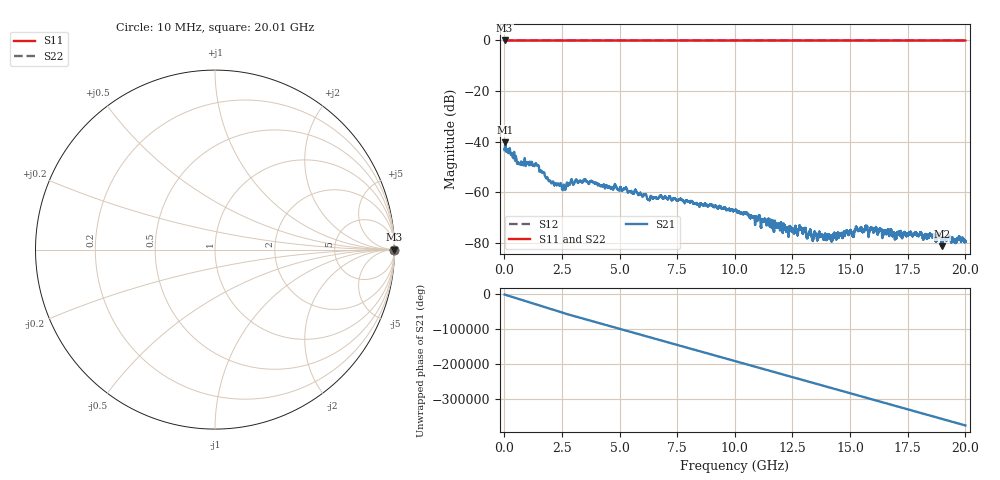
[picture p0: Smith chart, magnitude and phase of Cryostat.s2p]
! 8/15/2025 12:09:11 PM
! C:\ANRITSUVNA\CRYOSTAT.S2P
! CHANNEL.1
! TR.MEASUREMENT
! RAW.DATA
! RF.CORRECTION.OFF
! AVERAGING.OFF
! IF.BANDWIDTH: 5KHZ
! SWEEPTYPE:  FREQ.SWEEP(Linear)
! Reference Plane Port Info
! PORT:  PORT1  PORT2
! DISTANCE:  0  m  0  m
! TIME:  0  s  0  s
! PHASE.OFFSET:  0  deg.  0  deg.
! LOSS:  0  dB  0  dB
! REF.LOSS:  0  dB  0  dB
! REF.FREQ:  0  Hz  0  Hz
! Power Info
! POWER:  20  dBm  -20  dBm
! EFF.POWER:  20  dBm  -20  dBm
! SOURCE.ATTEN:  0  dB  0  dB
! TEST.ATTEN:  0  dB  0  dB
# GHZ S RI R 50.0
! FREQ.GHZ  S11RE  S11IM  S21RE  S21IM  S12RE  S12IM  S22RE  S22IM
!; PortSelection: Port_12
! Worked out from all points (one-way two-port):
!   20001 points, 10 MHz to 20.01 GHz, reference 50 ohm
!   highest |S21| = -40.21 dB at 46 MHz (marker M1); lowest = -81.2 dB at 18.99 GHz (marker M2)
!   lowest |S11| = 0.0 dB at 10 MHz (marker M3)
!   |S11| at or under -10 dB: nowhere
!   |S22| runs from 0.0 to 0.0 dB; largest |S21 - S12| = 1
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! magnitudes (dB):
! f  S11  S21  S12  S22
! 10 MHz  0.0  -43.3  0.0  0.0
! 46 MHz  0.0  -40.2  0.0  0.0
! 631 MHz  0.0  -48.8  0.0  0.0
! 1.404 GHz  0.0  -49.1  0.0  0.0
! 2.107 GHz  0.0  -55.6  0.0  0.0
! 2.589 GHz  0.0  -57.1  0.0  0.0
! 2.869 GHz  0.0  -55.9  0.0  0.0
! 3.344 GHz  0.0  -55.8  0.0  0.0
! 5.241 GHz  0.0  -58.6  0.0  0.0
! 6.26 GHz  0.0  -62.8  0.0  0.0
! 6.677 GHz  0.0  -62.3  0.0  0.0
! 10.01 GHz  0.0  -67.1  0.0  0.0
! 12.26 GHz  0.0  -74.1  0.0  0.0
! 12.85 GHz  0.0  -74.3  0.0  0.0
! 13.34 GHz  0.0  -77.4  0.0  0.0
! 14.19 GHz  0.0  -78.4  0.0  0.0
! 15.68 GHz  0.0  -73.5  0.0  0.0
! 16.68 GHz  0.0  -74.9  0.0  0.0
! 16.93 GHz  0.0  -76.7  0.0  0.0
! 17.84 GHz  0.0  -75.9  0.0  0.0
! 18.99 GHz  0.0  -81.2  0.0  0.0
! 20.01 GHz  0.0  -79.5  0.0  0.0
